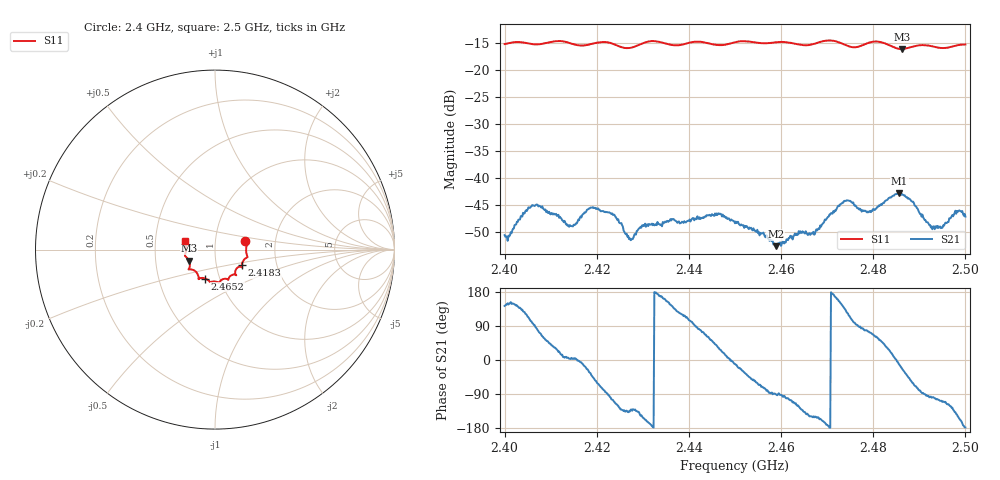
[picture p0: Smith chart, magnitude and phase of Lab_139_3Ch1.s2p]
# Hz S RI R 50
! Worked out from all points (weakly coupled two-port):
!   601 points, 2.4 GHz to 2.5 GHz, reference 50 ohm
!   highest |S21| = -42.80 dB at 2.4857 GHz (marker M1); lowest = -52.6 dB at 2.4588 GHz (marker M2)
!   lowest |S11| = -16.1 dB at 2.4863 GHz (marker M3), VSWR 1.37, Z = 37.1 - j4.7 ohm
!   |S11| at or under -10 dB: start of sweep to end of sweep
!   S12 and S22 are empty: the file has one direction only
!   S11 on the Smith chart (normalised r, x): 2.4 GHz: 1.40, +0.13; 2.4183 GHz: 1.33, -0.24; 2.4652 GHz: 0.85, -0.28; 2.5 GHz: 0.71, +0.07
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2.4e9  0.1681 0.0467  -0.00235 0.00179  0 0  0 0
2.4065e9  0.1732 0.00318  -0.000214 0.00549  0 0  0 0
2.414167e9  0.1716 -0.0476  0.00364 0.000192  0 0  0 0
2.416667e9  0.1549 -0.0678  0.00427 -0.000494  0 0  0 0
2.418333e9  0.1498 -0.0862  0.00443 -0.00278  0 0  0 0
2.4235e9  0.1466 -0.0966  -0.0012 -0.00438  0 0  0 0
2.4275e9  0.1158 -0.1128  -0.00173 -0.00203  0 0  0 0
2.43e9  0.1134 -0.1365  -0.00316 -0.00167  0 0  0 0
2.433333e9  0.1172 -0.1414  -0.00374 0.000445  0 0  0 0
2.4465e9  0.0492 -0.1633  0.00402 0.00242  0 0  0 0
2.45e9  0.0257 -0.1797  0.00374 -0.000681  0 0  0 0
2.458833e9  -0.0221 -0.1797  -8.79e-06 -0.00233  0 0  0 0
2.465167e9  -0.0543 -0.1613  -0.00225 -0.00207  0 0  0 0
2.466667e9  -0.0708 -0.1577  -0.00264 -0.00157  0 0  0 0
2.473833e9  -0.094 -0.1439  -0.00432 0.00437  0 0  0 0
2.479e9  -0.1417 -0.1101  0.00124 0.00465  0 0  0 0
2.483333e9  -0.1412 -0.097  0.00575 0.00301  0 0  0 0
2.485667e9  -0.1412 -0.0695  0.00708 -0.00155  0 0  0 0
2.486333e9  -0.1443 -0.0618  0.00641 -0.00291  0 0  0 0
2.492833e9  -0.1646 -0.0214  -0.000496 -0.00331  0 0  0 0
2.498333e9  -0.166 0.0382  -0.00413 -0.00255  0 0  0 0
2.5e9  -0.1663 0.0474  -0.00438 -0.000145  0 0  0 0
